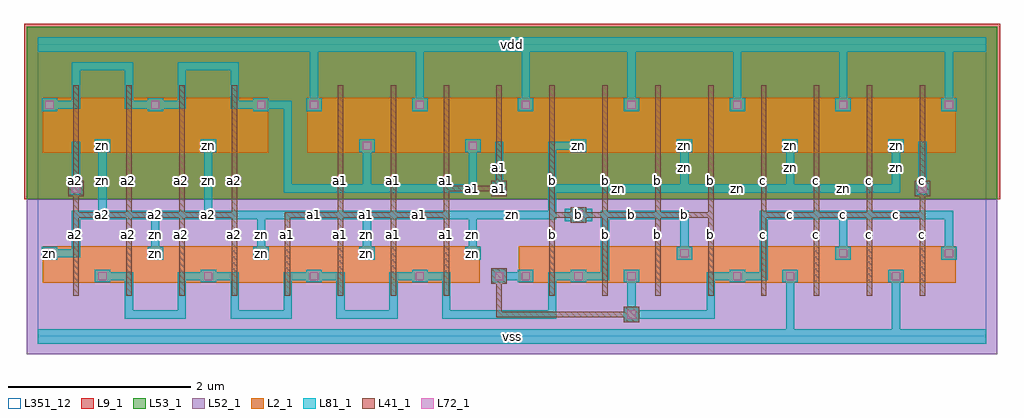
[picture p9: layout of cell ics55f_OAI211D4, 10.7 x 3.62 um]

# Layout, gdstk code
import gdstk
lib = gdstk.Library(unit=1e-6, precision=1e-09)
def R(c, l, rs):  # rectangles x0, y0, x1, y1
    for r in rs: c.add(gdstk.rectangle(r[:2], r[2:], *l))
def A(c, l, x, y, w, h, nx, ny, dx, dy):  # array of equal rectangles
    R(c, l, [(x+i*dx, y+j*dy, x+i*dx+w, y+j*dy+h) for i in range(nx) for j in range(ny)])
def P(c, l, *ps):  # polygons
    for p in ps: c.add(gdstk.Polygon(p, *l))
L0_0 = (0, 0)
L2_1 = (2, 1)
L9_1 = (9, 1)
L41_1 = (41, 1)
L52_1 = (52, 1)
L53_1 = (53, 1)
L72_1 = (72, 1)
L81_1 = (81, 1)
L351_12 = (351, 12)

ics55f_oai211d4 = lib.new_cell('ics55f_OAI211D4')
A(ics55f_oai211d4, L2_1, 0.055, 0.585, 0.73, 0.4, 8, 1, 0.58, 0)
A(ics55f_oai211d4, L2_1, 0.635, 0.585, 0.15, 0.15, 5, 1, 1.16, 0)
A(ics55f_oai211d4, L2_1, 5.275, 0.585, 0.73, 0.4, 8, 1, 0.58, 0)
A(ics55f_oai211d4, L2_1, 0.055, 0.835, 0.15, 0.15, 5, 1, 1.16, 0)
A(ics55f_oai211d4, L2_1, 0.055, 2.015, 0.73, 0.6, 4, 1, 0.58, 0)
A(ics55f_oai211d4, L2_1, 2.955, 2.015, 0.73, 0.6, 12, 1, 0.58, 0)
A(ics55f_oai211d4, L2_1, 3.535, 2.015, 0.15, 0.15, 6, 1, 1.16, 0)
A(ics55f_oai211d4, L2_1, 0.055, 2.465, 0.15, 0.15, 3, 1, 1.16, 0)
A(ics55f_oai211d4, L2_1, 2.955, 2.465, 0.15, 0.15, 7, 1, 1.16, 0)
R(ics55f_oai211d4, L2_1, [(5.855,0.585,6.005,0.735), (6.435,0.585,6.585,0.735), (7.595,0.585,7.745,0.735), (8.175,0.585,8.325,0.735), (9.335,0.585,9.485,0.735), (7.015,0.835,7.165,0.985), (8.755,0.835,8.905,0.985), (9.915,0.835,10.065,0.985), (0.635,2.015,0.785,2.165), (1.795,2.015,1.945,2.165)])
R(ics55f_oai211d4, L9_1, [(-0.15,1.5,10.55,3.425)])
A(ics55f_oai211d4, L41_1, 0.39, 0.445, 0.06, 0.68, 8, 1, 0.58, 0)
A(ics55f_oai211d4, L41_1, 5.61, 0.445, 0.06, 0.68, 8, 1, 0.58, 0)
A(ics55f_oai211d4, L41_1, 0.39, 0.88, 0.06, 0.48, 8, 1, 0.58, 0)
A(ics55f_oai211d4, L41_1, 5.61, 0.88, 0.06, 0.48, 8, 1, 0.58, 0)
A(ics55f_oai211d4, L41_1, 0.39, 1.3, 0.64, 0.06, 3, 1, 0.58, 0)
A(ics55f_oai211d4, L41_1, 0.39, 1.3, 0.06, 0.82, 4, 1, 0.58, 0)
A(ics55f_oai211d4, L41_1, 2.71, 1.3, 0.64, 0.06, 3, 1, 0.58, 0)
A(ics55f_oai211d4, L41_1, 3.29, 1.3, 0.06, 0.82, 3, 1, 0.58, 0)
A(ics55f_oai211d4, L41_1, 5.61, 1.3, 0.64, 0.06, 3, 1, 0.58, 0)
A(ics55f_oai211d4, L41_1, 5.61, 1.3, 0.06, 0.82, 8, 1, 0.58, 0)
A(ics55f_oai211d4, L41_1, 7.93, 1.3, 0.64, 0.06, 3, 1, 0.58, 0)
A(ics55f_oai211d4, L41_1, 0.335, 1.535, 0.17, 0.17, 3, 1, 4.64, 0)
A(ics55f_oai211d4, L41_1, 0.39, 1.875, 0.06, 0.88, 4, 1, 0.58, 0)
A(ics55f_oai211d4, L41_1, 3.29, 1.875, 0.06, 0.88, 12, 1, 0.58, 0)
R(ics55f_oai211d4, L41_1, [(6.425,0.155,6.595,0.325), (5.03,0.21,5.09,0.69), (5.03,0.21,6.54,0.27), (4.975,0.575,5.145,0.745), (5.845,1.245,6.015,1.415), (4.45,1.59,5.09,1.65), (5.03,1.59,5.09,2.12)])
R(ics55f_oai211d4, L52_1, [(-0.12,-0.195,10.52,1.5)])
R(ics55f_oai211d4, L53_1, [(-0.12,1.5,10.52,3.395)])
A(ics55f_oai211d4, L72_1, 0.665, 0.615, 0.09, 0.09, 4, 1, 1.16, 0)
A(ics55f_oai211d4, L72_1, 5.305, 0.615, 0.09, 0.09, 3, 1, 0.58, 0)
A(ics55f_oai211d4, L72_1, 0.085, 0.865, 0.09, 0.09, 5, 1, 1.16, 0)
A(ics55f_oai211d4, L72_1, 0.375, 1.575, 0.09, 0.09, 3, 1, 4.64, 0)
A(ics55f_oai211d4, L72_1, 3.565, 2.045, 0.09, 0.09, 6, 1, 1.16, 0)
A(ics55f_oai211d4, L72_1, 0.085, 2.495, 0.09, 0.09, 3, 1, 1.16, 0)
A(ics55f_oai211d4, L72_1, 2.985, 2.495, 0.09, 0.09, 7, 1, 1.16, 0)
R(ics55f_oai211d4, L72_1, [(6.465,0.195,6.555,0.285), (5.015,0.615,5.105,0.705), (7.625,0.615,7.715,0.705), (8.205,0.615,8.295,0.705), (9.365,0.615,9.455,0.705), (7.045,0.865,7.135,0.955), (8.785,0.865,8.875,0.955), (9.945,0.865,10.035,0.955), (5.885,1.285,5.975,1.375), (0.665,2.045,0.755,2.135), (1.825,2.045,1.915,2.135)])
R(ics55f_oai211d4, L81_1, [(5.78,1.26,6.08,1.4)])
P(ics55f_oai211d4, L81_1, [(4.975,0.59),(4.975,0.73),(5.145,0.73),(5.145,0.705),(5.265,0.705),(5.265,0.73),(5.435,0.73),(5.435,0.59),(5.265,0.59),(5.265,0.615),(5.145,0.615),(5.145,0.59)],
  [(0,-0.08),(0,0.08),(8.205,0.08),(8.205,0.59),(8.165,0.59),(8.165,0.73),(8.335,0.73),(8.335,0.59),(8.295,0.59),(8.295,0.08),(9.365,0.08),(9.365,0.59),(9.325,0.59),(9.325,0.73),(9.495,0.73),(9.495,0.59),(9.455,0.59),(9.455,0.08),(10.4,0.08),(10.4,-0.08)],
  [(0.955,0.195),(0.955,0.615),(0.795,0.615),(0.795,0.59),(0.625,0.59),(0.625,0.73),(0.795,0.73),(0.795,0.705),(1.045,0.705),(1.045,0.285),(1.535,0.285),(1.535,0.705),(1.785,0.705),(1.785,0.73),(1.955,0.73),(1.955,0.705),(2.205,0.705),(2.205,0.285),(2.695,0.285),(2.695,0.705),(2.945,0.705),(2.945,0.73),(3.115,0.73),(3.115,0.705),(3.365,0.705),(3.365,0.285),(3.855,0.285),(3.855,0.705),(4.105,0.705),(4.105,0.73),(4.275,0.73),(4.275,0.705),(4.525,0.705),(4.525,0.285),(5.595,0.285),(5.595,0.705),(5.845,0.705),(5.845,0.73),(6.015,0.73),(6.015,0.705),(6.175,0.705),(6.175,1.375),(7.135,1.375),(7.135,0.98),(7.175,0.98),(7.175,0.84),(7.005,0.84),(7.005,0.98),(7.045,0.98),(7.045,1.285),(6.265,1.285),(6.265,0.615),(6.015,0.615),(6.015,0.59),(5.845,0.59),(5.845,0.615),(5.685,0.615),(5.685,0.195),(4.435,0.195),(4.435,0.615),(4.275,0.615),(4.275,0.59),(4.105,0.59),(4.105,0.615),(3.945,0.615),(3.945,0.195),(3.275,0.195),(3.275,0.615),(3.115,0.615),(3.115,0.59),(2.945,0.59),(2.945,0.615),(2.785,0.615),(2.785,0.195),(2.115,0.195),(2.115,0.615),(1.955,0.615),(1.955,0.59),(1.785,0.59),(1.785,0.615),(1.625,0.615),(1.625,0.195)],
  [(6.425,0.17),(6.425,0.31),(6.465,0.31),(6.465,0.59),(6.425,0.59),(6.425,0.73),(6.595,0.73),(6.595,0.59),(6.555,0.59),(6.555,0.31),(6.595,0.31),(6.595,0.285),(7.335,0.285),(7.335,0.705),(7.585,0.705),(7.585,0.73),(7.755,0.73),(7.755,0.705),(7.915,0.705),(7.915,1.375),(10.035,1.375),(10.035,0.98),(10.075,0.98),(10.075,0.84),(9.905,0.84),(9.905,0.98),(9.945,0.98),(9.945,1.285),(8.875,1.285),(8.875,0.98),(8.915,0.98),(8.915,0.84),(8.745,0.84),(8.745,0.98),(8.785,0.98),(8.785,1.285),(8.005,1.285),(8.005,0.615),(7.755,0.615),(7.755,0.59),(7.585,0.59),(7.585,0.615),(7.425,0.615),(7.425,0.195),(6.595,0.195),(6.595,0.17)],
  [(0.335,1.55),(0.335,1.69),(0.375,1.69),(0.375,2.135),(0.465,2.135),(0.465,1.69),(0.505,1.69),(0.505,1.55)],
  [(4.975,1.55),(4.975,1.69),(5.015,1.69),(5.015,2.135),(5.105,2.135),(5.105,1.69),(5.145,1.69),(5.145,1.55)],
  [(9.615,1.55),(9.615,1.69),(9.655,1.69),(9.655,2.135),(9.745,2.135),(9.745,1.69),(9.785,1.69),(9.785,1.55)],
  [(0.045,0.84),(0.045,0.98),(0.215,0.98),(0.215,0.955),(0.375,0.955),(0.375,1.375),(0.665,1.375),(0.665,2.02),(0.625,2.02),(0.625,2.16),(0.795,2.16),(0.795,2.02),(0.755,2.02),(0.755,1.375),(1.825,1.375),(1.825,2.02),(1.785,2.02),(1.785,2.16),(1.955,2.16),(1.955,2.02),(1.915,2.02),(1.915,1.375),(5.595,1.375),(5.595,2.135),(5.845,2.135),(5.845,2.16),(6.015,2.16),(6.015,2.02),(5.845,2.02),(5.845,2.045),(5.685,2.045),(5.685,1.665),(7.045,1.665),(7.045,2.02),(7.005,2.02),(7.005,2.16),(7.175,2.16),(7.175,2.02),(7.135,2.02),(7.135,1.665),(8.205,1.665),(8.205,2.02),(8.165,2.02),(8.165,2.16),(8.335,2.16),(8.335,2.02),(8.295,2.02),(8.295,1.665),(9.365,1.665),(9.365,2.02),(9.325,2.02),(9.325,2.16),(9.495,2.16),(9.495,2.02),(9.455,2.02),(9.455,1.575),(5.685,1.575),(5.685,1.285),(4.815,1.285),(4.815,0.98),(4.855,0.98),(4.855,0.84),(4.685,0.84),(4.685,0.98),(4.725,0.98),(4.725,1.285),(3.655,1.285),(3.655,0.98),(3.695,0.98),(3.695,0.84),(3.525,0.84),(3.525,0.98),(3.565,0.98),(3.565,1.285),(2.495,1.285),(2.495,0.98),(2.535,0.98),(2.535,0.84),(2.365,0.84),(2.365,0.98),(2.405,0.98),(2.405,1.285),(1.335,1.285),(1.335,0.98),(1.375,0.98),(1.375,0.84),(1.205,0.84),(1.205,0.98),(1.245,0.98),(1.245,1.285),(0.465,1.285),(0.465,0.865),(0.215,0.865),(0.215,0.84)],
  [(2.695,1.575),(2.695,2.495),(2.535,2.495),(2.535,2.47),(2.365,2.47),(2.365,2.495),(2.115,2.495),(2.115,2.915),(1.625,2.915),(1.625,2.495),(1.375,2.495),(1.375,2.47),(1.205,2.47),(1.205,2.495),(0.955,2.495),(0.955,2.915),(0.465,2.915),(0.465,2.495),(0.215,2.495),(0.215,2.47),(0.045,2.47),(0.045,2.61),(0.215,2.61),(0.215,2.585),(0.375,2.585),(0.375,3.005),(1.045,3.005),(1.045,2.585),(1.205,2.585),(1.205,2.61),(1.375,2.61),(1.375,2.585),(1.535,2.585),(1.535,3.005),(2.205,3.005),(2.205,2.585),(2.365,2.585),(2.365,2.61),(2.535,2.61),(2.535,2.585),(2.785,2.585),(2.785,1.665),(3.565,1.665),(3.565,2.02),(3.525,2.02),(3.525,2.16),(3.695,2.16),(3.695,2.02),(3.655,2.02),(3.655,1.665),(4.725,1.665),(4.725,2.02),(4.685,2.02),(4.685,2.16),(4.855,2.16),(4.855,2.02),(4.815,2.02),(4.815,1.575)],
  [(2.945,2.47),(2.945,2.61),(2.985,2.61),(2.985,3.12),(0,3.12),(0,3.28),(10.4,3.28),(10.4,3.12),(10.035,3.12),(10.035,2.61),(10.075,2.61),(10.075,2.47),(9.905,2.47),(9.905,2.61),(9.945,2.61),(9.945,3.12),(8.875,3.12),(8.875,2.61),(8.915,2.61),(8.915,2.47),(8.745,2.47),(8.745,2.61),(8.785,2.61),(8.785,3.12),(7.715,3.12),(7.715,2.61),(7.755,2.61),(7.755,2.47),(7.585,2.47),(7.585,2.61),(7.625,2.61),(7.625,3.12),(6.555,3.12),(6.555,2.61),(6.595,2.61),(6.595,2.47),(6.425,2.47),(6.425,2.61),(6.465,2.61),(6.465,3.12),(5.395,3.12),(5.395,2.61),(5.435,2.61),(5.435,2.47),(5.265,2.47),(5.265,2.61),(5.305,2.61),(5.305,3.12),(4.235,3.12),(4.235,2.61),(4.275,2.61),(4.275,2.47),(4.105,2.47),(4.105,2.61),(4.145,2.61),(4.145,3.12),(3.075,3.12),(3.075,2.61),(3.115,2.61),(3.115,2.47)])
R(ics55f_oai211d4, L351_12, [(0,0,10.4,3.2)])
ics55f_oai211d4.add(gdstk.FlexPath([(0.045,0.24),(10.075,0.24)], 0, ends="flush", simple_path=True, layer=0, datatype=0))  # L0_0
ics55f_oai211d4.add(gdstk.FlexPath([(0.045,0.66),(10.075,0.66)], 0, ends="flush", simple_path=True, layer=0, datatype=0))  # L0_0
ics55f_oai211d4.add(gdstk.FlexPath([(0.045,0.91),(10.075,0.91)], 0, ends="flush", simple_path=True, layer=0, datatype=0))  # L0_0
ics55f_oai211d4.add(gdstk.FlexPath([(0.045,1.33),(10.075,1.33)], 0, ends="flush", simple_path=True, layer=0, datatype=0))  # L0_0
ics55f_oai211d4.add(gdstk.FlexPath([(0.045,1.62),(10.075,1.62)], 0, ends="flush", simple_path=True, layer=0, datatype=0))  # L0_0
ics55f_oai211d4.add(gdstk.FlexPath([(0.045,2.09),(10.075,2.09)], 0, ends="flush", simple_path=True, layer=0, datatype=0))  # L0_0
ics55f_oai211d4.add(gdstk.FlexPath([(0.045,2.54),(10.075,2.54)], 0, ends="flush", simple_path=True, layer=0, datatype=0))  # L0_0
ics55f_oai211d4.add(gdstk.FlexPath([(0.045,2.96),(10.075,2.96)], 0, ends="flush", simple_path=True, layer=0, datatype=0))  # L0_0
ics55f_oai211d4.add(gdstk.FlexPath([(0.13,0.03),(0.13,3.17)], 0, ends="flush", simple_path=True, layer=0, datatype=0))  # L0_0
ics55f_oai211d4.add(gdstk.FlexPath([(0.42,0.03),(0.42,3.17)], 0, ends="flush", simple_path=True, layer=0, datatype=0))  # L0_0
ics55f_oai211d4.add(gdstk.FlexPath([(0.71,0.03),(0.71,3.17)], 0, ends="flush", simple_path=True, layer=0, datatype=0))  # L0_0
ics55f_oai211d4.add(gdstk.FlexPath([(1,0.03),(1,3.17)], 0, ends="flush", simple_path=True, layer=0, datatype=0))  # L0_0
ics55f_oai211d4.add(gdstk.FlexPath([(1.29,0.03),(1.29,3.17)], 0, ends="flush", simple_path=True, layer=0, datatype=0))  # L0_0
ics55f_oai211d4.add(gdstk.FlexPath([(1.58,0.03),(1.58,3.17)], 0, ends="flush", simple_path=True, layer=0, datatype=0))  # L0_0
ics55f_oai211d4.add(gdstk.FlexPath([(1.87,0.03),(1.87,3.17)], 0, ends="flush", simple_path=True, layer=0, datatype=0))  # L0_0
ics55f_oai211d4.add(gdstk.FlexPath([(2.16,0.03),(2.16,3.17)], 0, ends="flush", simple_path=True, layer=0, datatype=0))  # L0_0
ics55f_oai211d4.add(gdstk.FlexPath([(2.45,0.03),(2.45,3.17)], 0, ends="flush", simple_path=True, layer=0, datatype=0))  # L0_0
ics55f_oai211d4.add(gdstk.FlexPath([(2.74,0.03),(2.74,3.17)], 0, ends="flush", simple_path=True, layer=0, datatype=0))  # L0_0
ics55f_oai211d4.add(gdstk.FlexPath([(3.03,0.03),(3.03,3.17)], 0, ends="flush", simple_path=True, layer=0, datatype=0))  # L0_0
ics55f_oai211d4.add(gdstk.FlexPath([(3.32,0.03),(3.32,3.17)], 0, ends="flush", simple_path=True, layer=0, datatype=0))  # L0_0
ics55f_oai211d4.add(gdstk.FlexPath([(3.61,0.03),(3.61,3.17)], 0, ends="flush", simple_path=True, layer=0, datatype=0))  # L0_0
ics55f_oai211d4.add(gdstk.FlexPath([(3.9,0.03),(3.9,3.17)], 0, ends="flush", simple_path=True, layer=0, datatype=0))  # L0_0
ics55f_oai211d4.add(gdstk.FlexPath([(4.19,0.03),(4.19,3.17)], 0, ends="flush", simple_path=True, layer=0, datatype=0))  # L0_0
ics55f_oai211d4.add(gdstk.FlexPath([(4.48,0.03),(4.48,3.17)], 0, ends="flush", simple_path=True, layer=0, datatype=0))  # L0_0
ics55f_oai211d4.add(gdstk.FlexPath([(4.77,0.03),(4.77,3.17)], 0, ends="flush", simple_path=True, layer=0, datatype=0))  # L0_0
ics55f_oai211d4.add(gdstk.FlexPath([(5.06,0.03),(5.06,3.17)], 0, ends="flush", simple_path=True, layer=0, datatype=0))  # L0_0
ics55f_oai211d4.add(gdstk.FlexPath([(5.35,0.03),(5.35,3.17)], 0, ends="flush", simple_path=True, layer=0, datatype=0))  # L0_0
ics55f_oai211d4.add(gdstk.FlexPath([(5.64,0.03),(5.64,3.17)], 0, ends="flush", simple_path=True, layer=0, datatype=0))  # L0_0
ics55f_oai211d4.add(gdstk.FlexPath([(5.93,0.03),(5.93,3.17)], 0, ends="flush", simple_path=True, layer=0, datatype=0))  # L0_0
ics55f_oai211d4.add(gdstk.FlexPath([(6.22,0.03),(6.22,3.17)], 0, ends="flush", simple_path=True, layer=0, datatype=0))  # L0_0
ics55f_oai211d4.add(gdstk.FlexPath([(6.51,0.03),(6.51,3.17)], 0, ends="flush", simple_path=True, layer=0, datatype=0))  # L0_0
ics55f_oai211d4.add(gdstk.FlexPath([(6.8,0.03),(6.8,3.17)], 0, ends="flush", simple_path=True, layer=0, datatype=0))  # L0_0
ics55f_oai211d4.add(gdstk.FlexPath([(7.09,0.03),(7.09,3.17)], 0, ends="flush", simple_path=True, layer=0, datatype=0))  # L0_0
ics55f_oai211d4.add(gdstk.FlexPath([(7.38,0.03),(7.38,3.17)], 0, ends="flush", simple_path=True, layer=0, datatype=0))  # L0_0
ics55f_oai211d4.add(gdstk.FlexPath([(7.67,0.03),(7.67,3.17)], 0, ends="flush", simple_path=True, layer=0, datatype=0))  # L0_0
ics55f_oai211d4.add(gdstk.FlexPath([(7.96,0.03),(7.96,3.17)], 0, ends="flush", simple_path=True, layer=0, datatype=0))  # L0_0
ics55f_oai211d4.add(gdstk.FlexPath([(8.25,0.03),(8.25,3.17)], 0, ends="flush", simple_path=True, layer=0, datatype=0))  # L0_0
ics55f_oai211d4.add(gdstk.FlexPath([(8.54,0.03),(8.54,3.17)], 0, ends="flush", simple_path=True, layer=0, datatype=0))  # L0_0
ics55f_oai211d4.add(gdstk.FlexPath([(8.83,0.03),(8.83,3.17)], 0, ends="flush", simple_path=True, layer=0, datatype=0))  # L0_0
ics55f_oai211d4.add(gdstk.FlexPath([(9.12,0.03),(9.12,3.17)], 0, ends="flush", simple_path=True, layer=0, datatype=0))  # L0_0
ics55f_oai211d4.add(gdstk.FlexPath([(9.41,0.03),(9.41,3.17)], 0, ends="flush", simple_path=True, layer=0, datatype=0))  # L0_0
ics55f_oai211d4.add(gdstk.FlexPath([(9.7,0.03),(9.7,3.17)], 0, ends="flush", simple_path=True, layer=0, datatype=0))  # L0_0
ics55f_oai211d4.add(gdstk.FlexPath([(9.99,0.03),(9.99,3.17)], 0, ends="flush", simple_path=True, layer=0, datatype=0))  # L0_0
ics55f_oai211d4.add(gdstk.Label('zn', (0.13,0.91), layer=2, texttype=1))
ics55f_oai211d4.add(gdstk.Label('zn', (1.29,0.91), layer=2, texttype=1))
ics55f_oai211d4.add(gdstk.Label('zn', (2.45,0.91), layer=2, texttype=1))
ics55f_oai211d4.add(gdstk.Label('zn', (3.61,0.91), layer=2, texttype=1))
ics55f_oai211d4.add(gdstk.Label('zn', (4.77,0.91), layer=2, texttype=1))
ics55f_oai211d4.add(gdstk.Label('zn', (0.71,2.09), layer=2, texttype=1))
ics55f_oai211d4.add(gdstk.Label('zn', (1.87,2.09), layer=2, texttype=1))
ics55f_oai211d4.add(gdstk.Label('zn', (5.93,2.09), layer=2, texttype=1))
ics55f_oai211d4.add(gdstk.Label('zn', (7.09,2.09), layer=2, texttype=1))
ics55f_oai211d4.add(gdstk.Label('zn', (8.25,2.09), layer=2, texttype=1))
ics55f_oai211d4.add(gdstk.Label('zn', (9.41,2.09), layer=2, texttype=1))
ics55f_oai211d4.add(gdstk.Label('a2', (0.42,1.12), layer=41, texttype=1))
ics55f_oai211d4.add(gdstk.Label('a2', (0.71,1.33), layer=41, texttype=1))
ics55f_oai211d4.add(gdstk.Label('a2', (1,1.12), layer=41, texttype=1))
ics55f_oai211d4.add(gdstk.Label('a2', (1.29,1.33), layer=41, texttype=1))
ics55f_oai211d4.add(gdstk.Label('a2', (1.58,1.12), layer=41, texttype=1))
ics55f_oai211d4.add(gdstk.Label('a2', (1.87,1.33), layer=41, texttype=1))
ics55f_oai211d4.add(gdstk.Label('a2', (2.16,1.12), layer=41, texttype=1))
ics55f_oai211d4.add(gdstk.Label('a2', (0.42,1.71), layer=41, texttype=1))
ics55f_oai211d4.add(gdstk.Label('a2', (1,1.71), layer=41, texttype=1))
ics55f_oai211d4.add(gdstk.Label('a2', (1.58,1.71), layer=41, texttype=1))
ics55f_oai211d4.add(gdstk.Label('a2', (2.16,1.71), layer=41, texttype=1))
ics55f_oai211d4.add(gdstk.Label('a2', (0.42,1.62), layer=41, texttype=1))
ics55f_oai211d4.add(gdstk.Label('a1', (2.74,1.12), layer=41, texttype=1))
ics55f_oai211d4.add(gdstk.Label('a1', (3.03,1.33), layer=41, texttype=1))
ics55f_oai211d4.add(gdstk.Label('a1', (3.32,1.12), layer=41, texttype=1))
ics55f_oai211d4.add(gdstk.Label('a1', (3.61,1.33), layer=41, texttype=1))
ics55f_oai211d4.add(gdstk.Label('a1', (3.9,1.12), layer=41, texttype=1))
ics55f_oai211d4.add(gdstk.Label('a1', (4.19,1.33), layer=41, texttype=1))
ics55f_oai211d4.add(gdstk.Label('a1', (4.48,1.12), layer=41, texttype=1))
ics55f_oai211d4.add(gdstk.Label('a1', (3.32,1.71), layer=41, texttype=1))
ics55f_oai211d4.add(gdstk.Label('a1', (3.9,1.71), layer=41, texttype=1))
ics55f_oai211d4.add(gdstk.Label('a1', (4.48,1.71), layer=41, texttype=1))
ics55f_oai211d4.add(gdstk.Label('a1', (4.77,1.62), layer=41, texttype=1))
ics55f_oai211d4.add(gdstk.Label('a1', (5.06,1.855), layer=41, texttype=1))
ics55f_oai211d4.add(gdstk.Label('a1', (5.06,1.62), layer=41, texttype=1))
ics55f_oai211d4.add(gdstk.Label('b', (5.64,1.12), layer=41, texttype=1))
ics55f_oai211d4.add(gdstk.Label('b', (5.93,1.33), layer=41, texttype=1))
ics55f_oai211d4.add(gdstk.Label('b', (6.22,1.12), layer=41, texttype=1))
ics55f_oai211d4.add(gdstk.Label('b', (6.51,1.33), layer=41, texttype=1))
ics55f_oai211d4.add(gdstk.Label('b', (6.8,1.12), layer=41, texttype=1))
ics55f_oai211d4.add(gdstk.Label('b', (7.09,1.33), layer=41, texttype=1))
ics55f_oai211d4.add(gdstk.Label('b', (7.38,1.12), layer=41, texttype=1))
ics55f_oai211d4.add(gdstk.Label('b', (5.64,1.71), layer=41, texttype=1))
ics55f_oai211d4.add(gdstk.Label('b', (6.22,1.71), layer=41, texttype=1))
ics55f_oai211d4.add(gdstk.Label('b', (6.8,1.71), layer=41, texttype=1))
ics55f_oai211d4.add(gdstk.Label('b', (7.38,1.71), layer=41, texttype=1))
ics55f_oai211d4.add(gdstk.Label('b', (5.93,1.33), layer=41, texttype=1))
ics55f_oai211d4.add(gdstk.Label('c', (7.96,1.12), layer=41, texttype=1))
ics55f_oai211d4.add(gdstk.Label('c', (8.25,1.33), layer=41, texttype=1))
ics55f_oai211d4.add(gdstk.Label('c', (8.54,1.12), layer=41, texttype=1))
ics55f_oai211d4.add(gdstk.Label('c', (8.83,1.33), layer=41, texttype=1))
ics55f_oai211d4.add(gdstk.Label('c', (9.12,1.12), layer=41, texttype=1))
ics55f_oai211d4.add(gdstk.Label('c', (9.41,1.33), layer=41, texttype=1))
ics55f_oai211d4.add(gdstk.Label('c', (9.7,1.12), layer=41, texttype=1))
ics55f_oai211d4.add(gdstk.Label('c', (7.96,1.71), layer=41, texttype=1))
ics55f_oai211d4.add(gdstk.Label('c', (8.54,1.71), layer=41, texttype=1))
ics55f_oai211d4.add(gdstk.Label('c', (9.12,1.71), layer=41, texttype=1))
ics55f_oai211d4.add(gdstk.Label('c', (9.7,1.71), layer=41, texttype=1))
ics55f_oai211d4.add(gdstk.Label('c', (9.7,1.62), layer=41, texttype=1))
ics55f_oai211d4.add(gdstk.Label('zn', (0.13,0.91), layer=72, texttype=1))
ics55f_oai211d4.add(gdstk.Label('zn', (1.29,0.91), layer=72, texttype=1))
ics55f_oai211d4.add(gdstk.Label('zn', (2.45,0.91), layer=72, texttype=1))
ics55f_oai211d4.add(gdstk.Label('zn', (3.61,0.91), layer=72, texttype=1))
ics55f_oai211d4.add(gdstk.Label('zn', (4.77,0.91), layer=72, texttype=1))
ics55f_oai211d4.add(gdstk.Label('zn', (0.71,2.09), layer=72, texttype=1))
ics55f_oai211d4.add(gdstk.Label('zn', (1.87,2.09), layer=72, texttype=1))
ics55f_oai211d4.add(gdstk.Label('zn', (5.93,2.09), layer=72, texttype=1))
ics55f_oai211d4.add(gdstk.Label('zn', (7.09,2.09), layer=72, texttype=1))
ics55f_oai211d4.add(gdstk.Label('zn', (8.25,2.09), layer=72, texttype=1))
ics55f_oai211d4.add(gdstk.Label('zn', (9.41,2.09), layer=72, texttype=1))
ics55f_oai211d4.add(gdstk.Label('a2', (0.42,1.62), layer=72, texttype=1))
ics55f_oai211d4.add(gdstk.Label('a1', (5.06,1.62), layer=72, texttype=1))
ics55f_oai211d4.add(gdstk.Label('b', (5.93,1.33), layer=72, texttype=1))
ics55f_oai211d4.add(gdstk.Label('c', (9.7,1.62), layer=72, texttype=1))
ics55f_oai211d4.add(gdstk.Label('zn', (0.13,0.91), layer=81, texttype=6))
ics55f_oai211d4.add(gdstk.Label('zn', (1.29,0.91), layer=81, texttype=6))
ics55f_oai211d4.add(gdstk.Label('zn', (2.45,0.91), layer=81, texttype=6))
ics55f_oai211d4.add(gdstk.Label('zn', (3.61,0.91), layer=81, texttype=6))
ics55f_oai211d4.add(gdstk.Label('zn', (4.77,0.91), layer=81, texttype=6))
ics55f_oai211d4.add(gdstk.Label('zn', (0.71,2.09), layer=81, texttype=6))
ics55f_oai211d4.add(gdstk.Label('zn', (1.87,2.09), layer=81, texttype=6))
ics55f_oai211d4.add(gdstk.Label('zn', (5.93,2.09), layer=81, texttype=6))
ics55f_oai211d4.add(gdstk.Label('zn', (7.09,2.09), layer=81, texttype=6))
ics55f_oai211d4.add(gdstk.Label('zn', (8.25,2.09), layer=81, texttype=6))
ics55f_oai211d4.add(gdstk.Label('zn', (9.41,2.09), layer=81, texttype=6))
ics55f_oai211d4.add(gdstk.Label('zn', (0.275,0.91), layer=81, texttype=6))
ics55f_oai211d4.add(gdstk.Label('zn', (0.42,1.12), layer=81, texttype=6))
ics55f_oai211d4.add(gdstk.Label('zn', (0.855,1.33), layer=81, texttype=6))
ics55f_oai211d4.add(gdstk.Label('zn', (1.29,1.12), layer=81, texttype=6))
ics55f_oai211d4.add(gdstk.Label('zn', (1.87,1.33), layer=81, texttype=6))
ics55f_oai211d4.add(gdstk.Label('zn', (2.45,1.12), layer=81, texttype=6))
ics55f_oai211d4.add(gdstk.Label('zn', (3.03,1.33), layer=81, texttype=6))
ics55f_oai211d4.add(gdstk.Label('zn', (3.61,1.12), layer=81, texttype=6))
ics55f_oai211d4.add(gdstk.Label('zn', (4.19,1.33), layer=81, texttype=6))
ics55f_oai211d4.add(gdstk.Label('zn', (4.77,1.12), layer=81, texttype=6))
ics55f_oai211d4.add(gdstk.Label('zn', (0.71,1.71), layer=81, texttype=6))
ics55f_oai211d4.add(gdstk.Label('zn', (1.87,1.71), layer=81, texttype=6))
ics55f_oai211d4.add(gdstk.Label('zn', (5.205,1.33), layer=81, texttype=6))
ics55f_oai211d4.add(gdstk.Label('zn', (5.64,1.71), layer=81, texttype=6))
ics55f_oai211d4.add(gdstk.Label('zn', (5.785,2.09), layer=81, texttype=6))
ics55f_oai211d4.add(gdstk.Label('zn', (6.365,1.62), layer=81, texttype=6))
ics55f_oai211d4.add(gdstk.Label('zn', (7.09,1.855), layer=81, texttype=6))
ics55f_oai211d4.add(gdstk.Label('zn', (7.67,1.62), layer=81, texttype=6))
ics55f_oai211d4.add(gdstk.Label('zn', (8.25,1.855), layer=81, texttype=6))
ics55f_oai211d4.add(gdstk.Label('zn', (8.83,1.62), layer=81, texttype=6))
ics55f_oai211d4.add(gdstk.Label('zn', (9.41,1.855), layer=81, texttype=6))
ics55f_oai211d4.add(gdstk.Label('a2', (0.42,1.62), layer=81, texttype=6))
ics55f_oai211d4.add(gdstk.Label('a2', (0.42,1.855), layer=81, texttype=6))
ics55f_oai211d4.add(gdstk.Label('a1', (5.06,1.62), layer=81, texttype=6))
ics55f_oai211d4.add(gdstk.Label('a1', (5.06,1.855), layer=81, texttype=6))
ics55f_oai211d4.add(gdstk.Label('b', (5.93,1.33), layer=81, texttype=6))
ics55f_oai211d4.add(gdstk.Label('c', (9.7,1.62), layer=81, texttype=6))
ics55f_oai211d4.add(gdstk.Label('c', (9.7,1.855), layer=81, texttype=6))
ics55f_oai211d4.add(gdstk.Label('vss', (5.2,0), layer=81, texttype=6))
ics55f_oai211d4.add(gdstk.Label('vdd', (5.2,3.2), layer=81, texttype=6))

lib.write_gds('ics55f_OAI211D4.gds')
